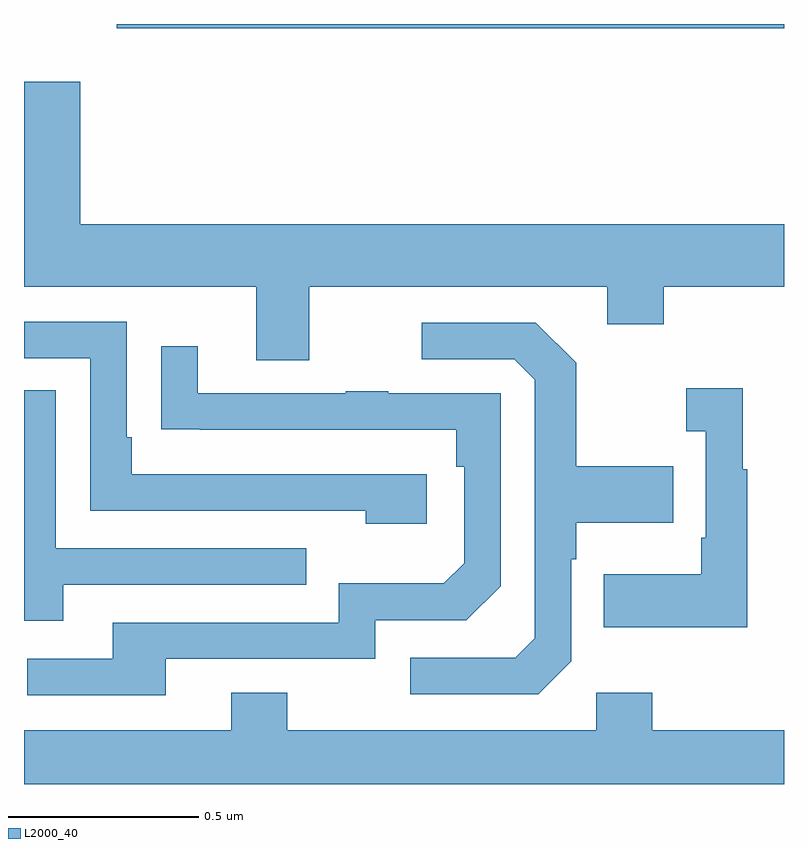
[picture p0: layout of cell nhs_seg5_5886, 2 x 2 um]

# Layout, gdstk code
import gdstk
lib = gdstk.Library(unit=1e-6, precision=1e-09)
def R(c, l, rs):  # rectangles x0, y0, x1, y1
    for r in rs: c.add(gdstk.rectangle(r[:2], r[2:], *l))
def P(c, l, *ps):  # polygons
    for p in ps: c.add(gdstk.Polygon(p, *l))
L2000_40 = (2000, 40)

nhs_seg5_5886 = lib.new_cell('nhs_seg5_5886')
R(nhs_seg5_5886, L2000_40, [(189.244,842.788,191,842.799)])
P(nhs_seg5_5886, L2000_40, [(189.751,842.108),(190.535,842.108),(190.535,842.009),(190.683,842.009),(190.683,842.108),(191,842.108),(191,842.272),(189.148,842.272),(189.148,842.647),(189,842.647),(189,842.108),(189.611,842.108),(189.611,841.914),(189.751,841.914)],
  [(190.06,841.614),(189.283,841.614),(189.283,841.711),(189.27,841.711),(189.27,842.016),(189,842.016),(189,841.92),(189.174,841.92),(189.174,841.518),(189.899,841.518),(189.899,841.484),(190.06,841.484)],
  [(190.44,841.122),(190.44,841.391),(190.453,841.391),(190.453,841.487),(190.709,841.487),(190.709,841.635),(190.453,841.635),(190.453,841.907),(190.347,842.013),(190.047,842.013),(190.047,841.917),(190.29,841.917),(190.344,841.863),(190.344,841.182),(190.293,841.131),(190.017,841.131),(190.017,841.035),(190.353,841.035)],
  [(189.373,841.128),(189.924,841.128),(189.924,841.23),(190.164,841.23),(190.254,841.32),(190.254,841.827),(189.959,841.827),(189.959,841.832),(189.847,841.832),(189.847,841.827),(189.457,841.827),(189.457,841.951),(189.361,841.951),(189.361,841.732),(189.463,841.732),(189.463,841.731),(190.138,841.731),(190.138,841.634),(190.158,841.634),(190.158,841.38),(190.105,841.327),(189.828,841.327),(189.828,841.224),(189.233,841.224),(189.233,841.128),(189.009,841.128),(189.009,841.032),(189.373,841.032)],
  [(190.903,841.627),(190.891,841.627),(190.891,841.84),(190.743,841.84),(190.743,841.727),(190.794,841.727),(190.794,841.447),(190.782,841.447),(190.782,841.351),(190.525,841.351),(190.525,841.211),(190.903,841.211)],
  [(189.103,841.323),(189.743,841.323),(189.743,841.419),(189.084,841.419),(189.084,841.835),(189,841.835),(189,841.229),(189.103,841.229)],
  [(191,840.94),(190.653,840.94),(190.653,841.039),(190.506,841.039),(190.506,840.94),(189.693,840.94),(189.693,841.039),(189.545,841.039),(189.545,840.94),(189,840.94),(189,840.799),(191,840.799)])

lib.write_gds('nhs_seg5_5886.gds')
